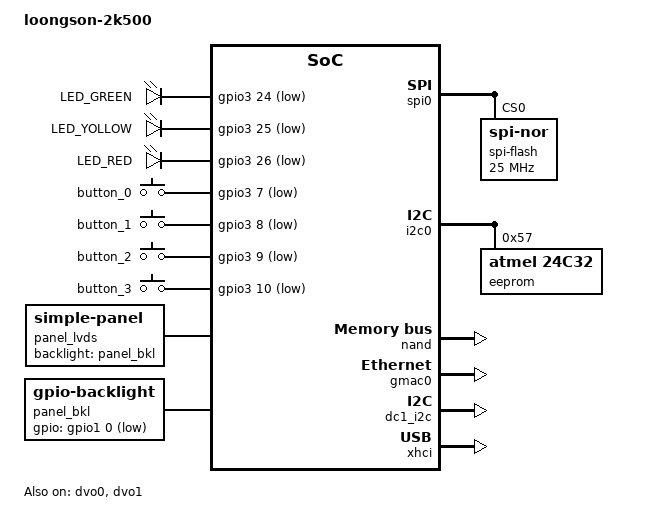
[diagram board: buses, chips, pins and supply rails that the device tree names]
#include "ls2k500.dtsi"
#include <dt-bindings/gpio/gpio.h>
#include <dt-bindings/power-domain/ls2k500-power-domain.h>

/ {
	model = "loongson-2k500";

	chosen {
		stdout-path = "serial2:115200n8";
		bootargs = "earlycon";
	};

	sysinfo-smbios {
		compatible = "u-boot,sysinfo-smbios";
		u-boot,dm-pre-reloc;

		smbios {
			system {
				manufacturer = "Loongson";
				product = "LS2K500";
			};

			baseboard {
				manufacturer = "HiHOPE";
				product = "LS2K500-DAYU400-MB";
			};

			chassis {
				manufacturer = "Loongson";
				product = "LS2K500-DAYU400-MB";
			};
		};
	};

	memory {
		name = "memory";
		device_type = "memory";
		reg =  <0x90000000 0x00000000 0 0x10000000
			0x90000000 0x90000000 0 0x30000000>;
		u-boot,dm-pre-reloc;
	};

	reserved-memory {
		#address-cells = <2>;
		#size-cells = <2>;
		ranges;

		bootparam: bootparam_region {
			reg = <0x90000000 0x0f000000 0x0 0x1000000>;
			no-map;
		};
	};

	mc0: ram@0 {
		compatible = "loongson,ls2k500-ddr";
		u-boot,dm-pre-reloc;

		soc-config-reg = <0x1fe10100>;
		mc-disable-offs = <11>;
		mc-default-offs = <12>;

		sdram-type = "ddr3";	// ddr2/ddr3
		dimm-type = "udimm";	// rdimm/udimm/sodimm

		cs-map = <0x1>;		// bit map: 	bit0 -- cs0
					// 		bit1 -- cs1
					//		bit2 -- cs2
					//		bit3 -- cs3

		data-width = <32>;	// 16/32/64
		sdram-width = <16>;	// 8/16
		sdram-banks = <8>;	// 2/4/8
		sdram-rows = <15>;
		sdram-cols = <10>;

		clk-latency = <0x22>; // 300MHz 0x10 400MHz 0x22
		rd-latency = <0x7>; // 300MHz 0xc 400MHz 0x7
		wr-latency = <0x4>; // 300MHz 0x3 400MHz 0x4
		cmd-timing-mode = <1>;	// 0: 1T mode; 1(default): 2T mode; 2: 3T mode.

		// To enable the feature below, uncomment it.
		/* ecc-enable; */
		/* addr-mirror; */
		/* multi-channel; */
		/* reset-revert; */
	};

	leds {
		compatible = "gpio-leds";

		LED_GREEN {
			label = "LED_GREEN";
			gpios = <&gpio3 24 GPIO_ACTIVE_LOW>;
			default-state = "on";
		};

		LED_YOLLOW {
			label = "LED_YOLLOW";
			gpios = <&gpio3 25 GPIO_ACTIVE_LOW>;
			default-state = "on";
		};

		LED_RED {
			label = "LED_RED";
			gpios = <&gpio3 26 GPIO_ACTIVE_LOW>;
			default-state = "on";
		};
	};

	buttons {
		compatible = "gpio-keys";

		button_0 {
			label = "button_0";
			gpios = <&gpio3 7 GPIO_ACTIVE_LOW>;
		};

		button_1 {
			label = "button_1";
			gpios = <&gpio3 8 GPIO_ACTIVE_LOW>;
		};

		button_2 {
			label = "button_2";
			gpios = <&gpio3 9 GPIO_ACTIVE_LOW>;
		};

		button_3 {
			label = "button_3";
			gpios = <&gpio3 10 GPIO_ACTIVE_LOW>;
		};
	};

	panel_lvds: panel-lvds {
		compatible = "simple-panel";
		backlight = <&panel_bkl>;

		display-timings {
			native-mode = <&timing0>;

			timing0: 1280x800 {
				clock-frequency = <71000000>;
				hactive = <1280>;
				vactive = <800>;
				hsync-len = <32>;
				hfront-porch = <8>;
				hback-porch = <10>;
				vfront-porch = <3>;
				vback-porch = <3>;
				vsync-len = <6>;
				de-active = <1>;
				hsync-active = <0>;
				vsync-active = <0>;
				pixelclk-active = <0>;
			};
		};
	};

#if 0
	panel_bkl: pwm-bkl {
		compatible = "pwm-backlight";
		pwms = <&pwm2 0 5000000>;

		brightness-levels = <0 4 8 16 32 64 128 256 511>;
		default-brightness-level = <8>;

		enable-gpios = <&gpio1 0 GPIO_ACTIVE_HIGH>;
	};
#else
	panel_bkl: backlight {
		compatible = "gpio-backlight";
		gpios = <&gpio1 0 GPIO_ACTIVE_LOW>;
		// default-on;
	};
#endif

};

&spi0 {
	status = "okay";

	spi-flash@0 {
		compatible = "jedec,spi-nor";
		spi-max-frequency = <25000000>; /* input clock */
		reg = <0>; /* CS0 */
		u-boot,dm-pre-reloc;
	};
};

&i2c0 {
    status = "okay";

    eeprom@57 {
        compatible = "atmel,24c32";
        reg = <0x57>;
        pagesize = <32>;
    };
};

&nand {
	status = "okay";
};

&gmac0 {
	status = "okay";
};

&pinmux {
    //pix1_i2c
    uart3_pix1_i2c_pins:pinmux_uart3_pins {
        pinctrl-single,bits = <0x1c 0x11000000 0xff000000>;
    };
};

&dc1_i2c {
    status = "okay";
    pinctrl-0 = <&uart3_pix1_i2c_pins>;
    pinctrl-names = "default";
};

&dvo0 {
	status = "okay";
	connector-type = "panel";	// panel, vga, hdmi
	connector = <&panel_lvds>;
	pix-fmt = "rgb565";
};

&dvo1 {
	status = "okay";
	connector-type = "vga";		// panel, vga, hdmi
	pix-fmt = "rgb565";
};

&xhci {
	status = "okay";
};

&dpm {
	domain_pci {
		offset = <LS2K500_DPM_PCI>;
		mask = <0x30>;
		value = <LS2K500_DPM_TGT_CLKOFF>;
		dpm_en = <0x1>;
	};
	domain_gpu {
		offset = <LS2K500_DPM_GPU>;
		mask = <0x300>;
		value = <LS2K500_DPM_TGT_POWEROFF>;
		dpm_en = <0x1>;
	};
	domain_gmac1 {
		offset = <LS2K500_DPM_GMAC1>;
		mask = <0xc000>;
		value = <LS2K500_DPM_TGT_CLKOFF>;
		dpm_en = <0x1>;
	};
	domain_print {
		offset = <LS2K500_DPM_PRINT>;
		mask = <0x3000000>;
		value = <LS2K500_DPM_TGT_CLKOFF>;
		dpm_en = <0x1>;
	};
};
